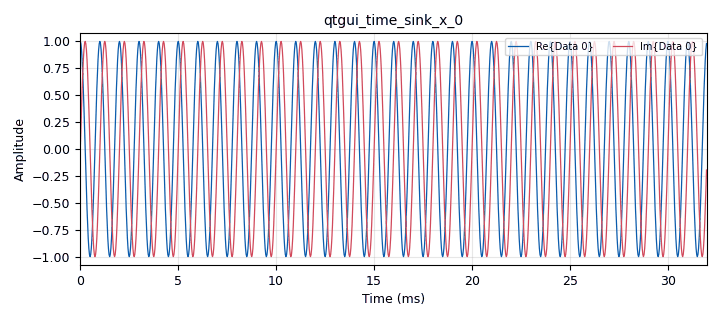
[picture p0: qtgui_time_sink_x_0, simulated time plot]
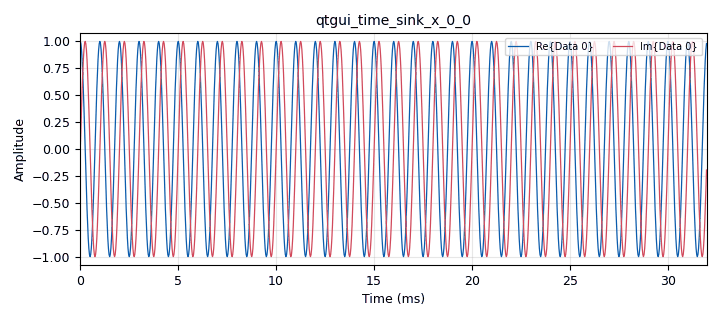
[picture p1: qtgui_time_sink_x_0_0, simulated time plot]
options:
  parameters:
    author: yak
    generate_options: qt_gui
    id: EFJAT_header_insert
    output_language: python
    title: Not titled yet
  states: {}

blocks:
- name: payload_size
  id: variable
  parameters:
    value: '128'
  states: {}
- name: samp_rate
  id: variable
  parameters:
    value: '32000'
  states: {}
- name: analog_sig_source_x_0
  id: analog_sig_source_x
  parameters:
    amp: '0.9'
    freq: '1000'
    offset: '0'
    phase: '0'
    samp_rate: samp_rate
    type: float
    waveform: analog.GR_CONST_WAVE
  states: {}
- name: analog_sig_source_x_1
  id: analog_sig_source_x
  parameters:
    amp: '1'
    freq: '1000'
    offset: '0'
    phase: '0'
    samp_rate: samp_rate
    type: complex
    waveform: analog.GR_COS_WAVE
  states: {}
- name: blocks_complex_to_float_0
  id: blocks_complex_to_float
  parameters: {}
  states: {}
- name: blocks_deinterleave_0
  id: blocks_deinterleave
  parameters:
    type: float
  states: {}
- name: blocks_file_sink_0_0
  id: blocks_file_sink
  parameters:
    file: /tmp/ejfat_packet_bytes2.bin
    type: byte
    vlen: '528'
  states: {}
- name: blocks_file_sink_0_0_0
  id: blocks_file_sink
  parameters:
    file: /tmp/ejfat_packet_bytes3.bin
    type: byte
    vlen: '512'
  states: {}
- name: blocks_file_sink_0_1_0
  id: blocks_file_sink
  parameters:
    file: /tmp/ejfat_packet_floats.bin
    type: float
  states: {}
- name: blocks_file_sink_0_1_0_0
  id: blocks_file_sink
  parameters:
    file: /tmp/ejfat_packet_bytes.bin
    type: byte
  states: {}
- name: blocks_float_to_complex_0
  id: blocks_float_to_complex
  parameters: {}
  states: {}
- name: blocks_interleave_0
  id: blocks_interleave
  parameters:
    type: float
  states: {}
- name: blocks_stream_to_vector_0
  id: blocks_stream_to_vector
  parameters:
    num_items: '128'
    type: float
  states: {}
- name: blocks_throttle2_0
  id: blocks_throttle2
  parameters:
    samples_per_second: samp_rate
    type: float
  states: {}
- name: blocks_vector_to_stream_0_1
  id: blocks_vector_to_stream
  parameters:
    num_items: '528'
    type: byte
  states: {}
- name: ejfat_ejfat_pop_header_0
  id: ejfat_ejfat_pop_header
  parameters: {}
  states: {}
- name: ejfat_ejfat_sink_0
  id: ejfat_ejfat_sink
  parameters:
    eventID: '0xDEADBEEF'
    payload_size: '528'
  states: {}
- name: network_udp_sink_0
  id: network_udp_sink
  parameters:
    addr: 127.0.0.1
    header: '0'
    payloadsize: '528'
    port: '19522'
    send_eof: 'False'
    type: byte
  states: {}
- name: network_udp_source_0
  id: network_udp_source
  parameters:
    header: '0'
    ipv6: 'False'
    notify_missed: 'True'
    payloadsize: '528'
    port: '19522'
    src_zeros: 'False'
    type: byte
    vlen: '528'
  states: {}
- name: qtgui_time_sink_x_0
  id: qtgui_time_sink_x
  parameters:
    size: '1024'
    srate: samp_rate
    type: complex
  states: {}
- name: qtgui_time_sink_x_0_0
  id: qtgui_time_sink_x
  parameters:
    size: '1024'
    srate: samp_rate
    type: complex
  states: {}

connections:
- [analog_sig_source_x_0, '0', blocks_throttle2_0, '0']
- [analog_sig_source_x_1, '0', blocks_complex_to_float_0, '0']
- [analog_sig_source_x_1, '0', qtgui_time_sink_x_0_0, '0']
- [blocks_complex_to_float_0, '0', blocks_interleave_0, '0']
- [blocks_complex_to_float_0, '1', blocks_interleave_0, '1']
- [blocks_deinterleave_0, '0', blocks_float_to_complex_0, '0']
- [blocks_deinterleave_0, '1', blocks_float_to_complex_0, '1']
- [blocks_float_to_complex_0, '0', qtgui_time_sink_x_0, '0']
- [blocks_interleave_0, '0', blocks_deinterleave_0, '0']
- [blocks_stream_to_vector_0, '0', ejfat_ejfat_sink_0, '0']
- [blocks_throttle2_0, '0', blocks_file_sink_0_1_0, '0']
- [blocks_throttle2_0, '0', blocks_stream_to_vector_0, '0']
- [blocks_vector_to_stream_0_1, '0', blocks_file_sink_0_1_0_0, '0']
- [blocks_vector_to_stream_0_1, '0', network_udp_sink_0, '0']
- [ejfat_ejfat_pop_header_0, '0', blocks_file_sink_0_0_0, '0']
- [ejfat_ejfat_sink_0, '0', blocks_vector_to_stream_0_1, '0']
- [network_udp_source_0, '0', blocks_file_sink_0_0, '0']
- [network_udp_source_0, '0', ejfat_ejfat_pop_header_0, '0']

metadata:
  file_format: 1
  grc_version: 3.10.9.2
